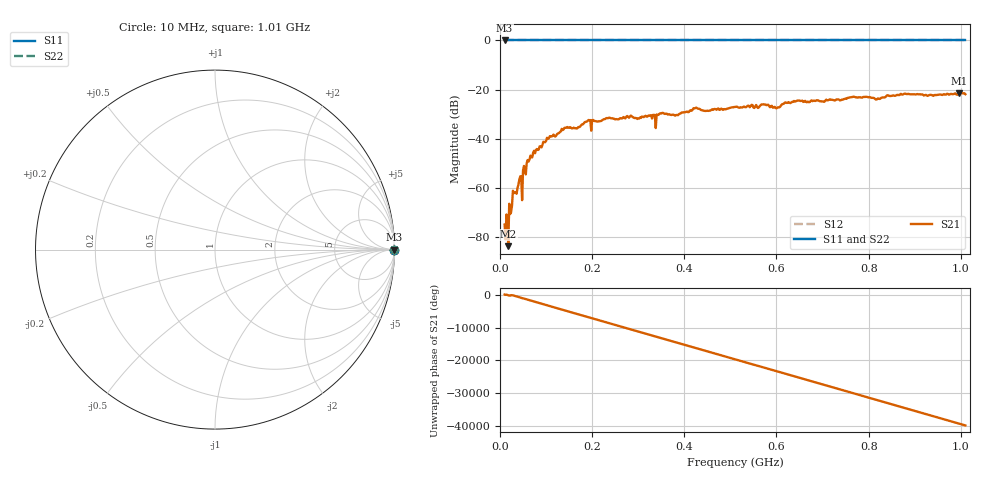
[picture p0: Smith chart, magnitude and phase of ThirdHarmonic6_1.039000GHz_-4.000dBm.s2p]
! 8/16/2025 8:59:29 AM
! C:\ANRITSUVNA\TEMP\TEMP.S2P
! CHANNEL.1
! TR.MEASUREMENT
! RAW.DATA
! RF.CORRECTION.OFF
! AVERAGING.OFF
! IF.BANDWIDTH: 5KHZ
! SWEEPTYPE:  FREQ.SWEEP(Linear)
! Reference Plane Port Info
! PORT:  PORT1  PORT2
! DISTANCE:  0  m  0  m
! TIME:  0  s  0  s
! PHASE.OFFSET:  0  deg.  0  deg.
! LOSS:  0  dB  0  dB
! REF.LOSS:  0  dB  0  dB
! REF.FREQ:  0  Hz  0  Hz
! Power Info
! POWER:  -20  dBm  -20  dBm
! EFF.POWER:  -20  dBm  -20  dBm
! SOURCE.ATTEN:  0  dB  0  dB
! TEST.ATTEN:  0  dB  0  dB
# GHZ S RI R 50.0
! FREQ.GHZ  S11RE  S11IM  S21RE  S21IM  S12RE  S12IM  S22RE  S22IM
!; PortSelection: Port_12
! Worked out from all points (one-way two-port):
!   501 points, 10 MHz to 1.01 GHz, reference 50 ohm
!   highest |S21| = -21.47 dB at 996 MHz (marker M1); lowest = -83.8 dB at 18 MHz (marker M2)
!   lowest |S11| = 0.0 dB at 10 MHz (marker M3)
!   |S11| at or under -10 dB: nowhere
!   |S22| runs from 0.0 to 0.0 dB; largest |S21 - S12| = 1.1
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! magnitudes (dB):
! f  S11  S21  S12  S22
! 10 MHz  0.0  -75.0  0.0  0.0
! 14 MHz  0.0  -70.9  0.0  0.0
! 18 MHz  0.0  -83.8  0.0  0.0
! 22 MHz  0.0  -70.8  0.0  0.0
! 24 MHz  0.0  -70.0  0.0  0.0
! 30 MHz  0.0  -62.1  0.0  0.0
! 42 MHz  0.0  -56.7  0.0  0.0
! 44 MHz  0.0  -55.4  0.0  0.0
! 62 MHz  0.0  -49.4  0.0  0.0
! 76 MHz  0.0  -46.0  0.0  0.0
! 138 MHz  0.0  -36.2  0.0  0.0
! 178 MHz  0.0  -34.2  0.0  0.0
! 234 MHz  0.0  -31.7  0.0  0.0
! 334 MHz  0.0  -30.3  0.0  0.0
! 344 MHz  0.0  -30.3  0.0  0.0
! 510 MHz  0.0  -27.1  0.0  0.0
! 602 MHz  0.0  -27.3  0.0  0.0
! 622 MHz  0.0  -25.4  0.0  0.0
! 678 MHz  0.0  -24.7  0.0  0.0
! 844 MHz  0.0  -22.5  0.0  0.0
! 996 MHz  0.0  -21.5  0.0  0.0
! 1.01 GHz  0.0  -21.9  0.0  0.0
